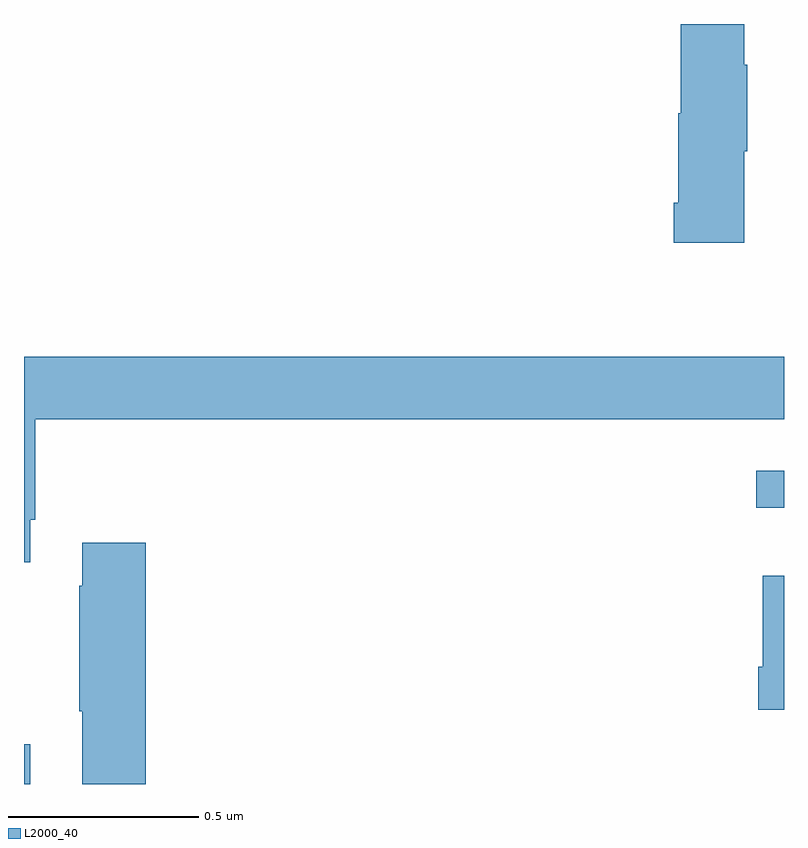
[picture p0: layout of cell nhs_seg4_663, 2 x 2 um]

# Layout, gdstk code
import gdstk
lib = gdstk.Library(unit=1e-6, precision=1e-09)
def R(c, l, rs):  # rectangles x0, y0, x1, y1
    for r in rs: c.add(gdstk.rectangle(r[:2], r[2:], *l))
def P(c, l, *ps):  # polygons
    for p in ps: c.add(gdstk.Polygon(p, *l))
L2000_40 = (2000, 40)

nhs_seg4_663 = lib.new_cell('nhs_seg4_663')
R(nhs_seg4_663, L2000_40, [(119,755.9,119.017,756.004), (120.927,756.627,121,756.724)])
P(nhs_seg4_663, L2000_40, [(120.895,757.565),(120.903,757.565),(120.903,757.793),(120.895,757.793),(120.895,757.9),(120.728,757.9),(120.728,757.665),(120.722,757.665),(120.722,757.429),(120.71,757.429),(120.71,757.325),(120.895,757.325)],
  [(119.017,756.595),(119.03,756.595),(119.03,756.86),(121,756.86),(121,757.024),(119,757.024),(119,756.483),(119.017,756.483)],
  [(119.321,756.535),(119.153,756.535),(119.153,756.422),(119.146,756.422),(119.146,756.091),(119.153,756.091),(119.153,755.9),(119.321,755.9)],
  [(121,756.448),(120.944,756.448),(120.944,756.208),(120.932,756.208),(120.932,756.096),(121,756.096)])

lib.write_gds('nhs_seg4_663.gds')
